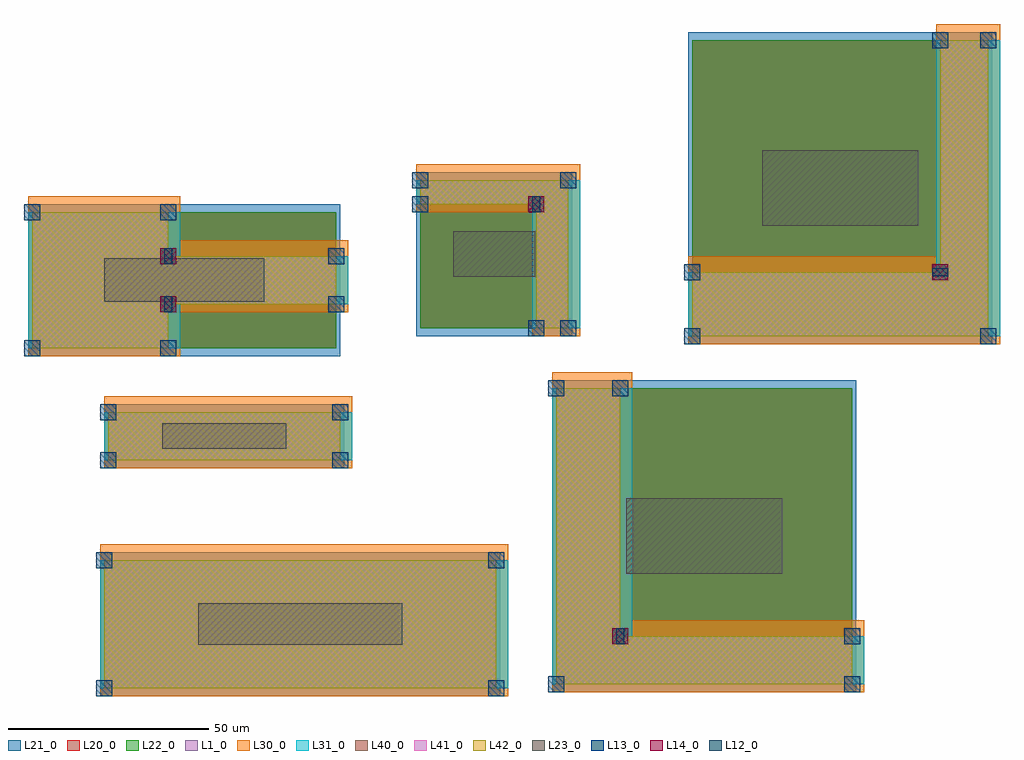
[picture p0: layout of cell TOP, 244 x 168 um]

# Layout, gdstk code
from math import pi, radians
import gdstk
lib = gdstk.Library(unit=1e-6, precision=1e-09)
def R(c, l, rs):  # rectangles x0, y0, x1, y1
    for r in rs: c.add(gdstk.rectangle(r[:2], r[2:], *l))
def P(c, l, *ps):  # polygons
    for p in ps: c.add(gdstk.Polygon(p, *l))
L1_0 = (1, 0)
L10_0 = (10, 0)
L11_0 = (11, 0)
L12_0 = (12, 0)
L13_0 = (13, 0)
L14_0 = (14, 0)
L20_0 = (20, 0)
L21_0 = (21, 0)
L22_0 = (22, 0)
L23_0 = (23, 0)
L24_0 = (24, 0)
L25_0 = (25, 0)
L26_0 = (26, 0)
L30_0 = (30, 0)
L31_0 = (31, 0)
L40_0 = (40, 0)
L41_0 = (41, 0)
L42_0 = (42, 0)

c_a = lib.new_cell('A')
R(c_a, L1_0, [(0,-12,58,0)])

c_b = lib.new_cell('B')
R(c_b, L1_0, [(12,-17,20,20), (-17,14,20,20)])
R(c_b, L20_0, [(-17,-17,20,20)])
c_b.add(gdstk.FlexPath([(20,-17),(20,-17)], 0, ends="flush", simple_path=True, layer=10, datatype=0))  # L10_0
c_b.add(gdstk.FlexPath([(12,-17),(12,-17)], 0, ends="flush", simple_path=True, layer=10, datatype=0))  # L10_0
c_b.add(gdstk.FlexPath([(12,14),(12,14)], 0, ends="flush", simple_path=True, layer=10, datatype=0))  # L10_0
c_b.add(gdstk.FlexPath([(-17,14),(-17,14)], 0, ends="flush", simple_path=True, layer=10, datatype=0))  # L10_0
c_b.add(gdstk.FlexPath([(-17,20),(-17,20)], 0, ends="flush", simple_path=True, layer=10, datatype=0))  # L10_0
c_b.add(gdstk.FlexPath([(20,20),(20,20)], 0, ends="flush", simple_path=True, layer=10, datatype=0))  # L10_0
c_b.add(gdstk.FlexPath([(12,14),(12,14)], 0, ends="flush", simple_path=True, layer=11, datatype=0))  # L11_0

b_var2 = lib.new_cell('B$VAR2')
R(b_var2, L21_0, [(-18,-17.5,21,20.5)])
R(b_var2, L22_0, [(-17,-17,20,20)])
R(b_var2, L23_0, [(-3.2,-8.25,6.2,11.25)])
P(b_var2, L30_0, [(10,-17.5),(10,13.5),(-19,13.5),(-19,21.5),(21,21.5),(21,-17.5)])
P(b_var2, L31_0, [(12,-17.5),(12,13.5),(-17,13.5),(-17,21.5),(20,21.5),(20,-17.5)])
R(b_var2, L40_0, [(12,-17,20,14), (-17,14,20,20)])
R(b_var2, L41_0, [(12,-17,20,14), (-17,14,20,20)])
R(b_var2, L42_0, [(12,-17,20,20), (-17,14,12,20)])
b_var2.add(gdstk.FlexPath([(-17,-17),(20,20)], 0, ends="flush", simple_path=True, layer=24, datatype=0))  # L24_0
b_var2.add(gdstk.FlexPath([(1.5,1.5),(1.5,1.5)], 0, ends="flush", simple_path=True, layer=25, datatype=0))  # L25_0
b_var2.add(gdstk.FlexPath([(5.2,-7.75),(-2.2,10.75)], 0, ends="flush", simple_path=True, layer=26, datatype=0))  # L26_0

c_c = lib.new_cell('C')
R(c_c, L12_0, [(1.5,13,2.5,15)])
R(c_c, L13_0, [(-7,7,-5,9), (30,7,32,9), (1,13,3,15), (30,13,32,15), (-7,44,-5,46), (1,44,3,46)])
R(c_c, L14_0, [(1,13,3,15)])
c_c.add(gdstk.Reference(c_b, (14,28), rotation=pi))
c_c.add(gdstk.Reference(b_var2, (14,28), rotation=pi))

b_1 = lib.new_cell('B$1')
R(b_1, L21_0, [(-18,-19,21,22)])
R(b_1, L22_0, [(-17,-17,20,20)])
R(b_1, L23_0, [(-8.75,-4.2,11.75,7.2)])
P(b_1, L30_0, [(11,-19),(11,12),(-18,12),(-18,24),(23,24),(23,-19)])
P(b_1, L31_0, [(11,-17),(11,14),(-18,14),(-18,20),(23,20),(23,-17)])
R(b_1, L40_0, [(12,-17,20,14), (-17,14,20,20)])
R(b_1, L41_0, [(12,-17,20,20), (-17,14,12,20)])
R(b_1, L42_0, [(12,-17,20,14), (-17,14,20,20)])
b_1.add(gdstk.FlexPath([(-17,-17),(20,20)], 0, ends="flush", simple_path=True, layer=24, datatype=0))  # L24_0
b_1.add(gdstk.FlexPath([(1.5,1.5),(1.5,1.5)], 0, ends="flush", simple_path=True, layer=25, datatype=0))  # L25_0
b_1.add(gdstk.FlexPath([(-7.75,-2.2),(10.75,5.2)], 0, ends="flush", simple_path=True, layer=26, datatype=0))  # L26_0

b_var1 = lib.new_cell('B$VAR1')
R(b_var1, L21_0, [(-17.5,-18,20.5,21)])
R(b_var1, L22_0, [(-17,-17,20,20)])
R(b_var1, L23_0, [(-8.25,-3.2,11.25,6.2)])
P(b_var1, L30_0, [(10.5,-19),(10.5,12),(-18.5,12),(-18.5,21),(20.5,21),(20.5,-19)])
P(b_var1, L31_0, [(10.5,-17),(10.5,14),(-18.5,14),(-18.5,20),(20.5,20),(20.5,-17)])
R(b_var1, L40_0, [(12,-17,20,14), (-17,14,20,20)])
R(b_var1, L41_0, [(12,-17,20,20), (-17,14,12,20)])
R(b_var1, L42_0, [(12,-17,20,14), (-17,14,20,20)])
b_var1.add(gdstk.FlexPath([(-17,-17),(20,20)], 0, ends="flush", simple_path=True, layer=24, datatype=0))  # L24_0
b_var1.add(gdstk.FlexPath([(1.5,1.5),(1.5,1.5)], 0, ends="flush", simple_path=True, layer=25, datatype=0))  # L25_0
b_var1.add(gdstk.FlexPath([(10.75,5.2),(-7.75,-2.2)], 0, ends="flush", simple_path=True, layer=26, datatype=0))  # L26_0

top = lib.new_cell('TOP')
R(top, L1_0, [(-11,-15,23,19)])
R(top, L12_0, [(135,-89,137,-85), (22,-6,24,-2), (22,6,24,10), (114,19,116,23)])
R(top, L13_0, [(5,-102,9,-98), (103,-102,107,-98), (118,-101,122,-97), (192,-101,196,-97), (134,-89,138,-85), (192,-89,196,-85), (5,-70,9,-66), (103,-70,107,-66), (6,-45,10,-41), (64,-45,68,-41), (6,-33,10,-29), (64,-33,68,-29), (118,-27,122,-23), (134,-27,138,-23), (-13,-17,-9,-13), (21,-17,25,-13), (113,-12,117,-8), (121,-12,125,-8), (21,-6,25,-2), (63,-6,67,-2), (21,6,25,10), (63,6,67,10), (-13,17,-9,21), (21,17,25,21), (84,19,88,23), (113,19,117,23), (84,25,88,29), (121,25,125,29)])
R(top, L14_0, [(134,-89,138,-85), (21,-6,25,-2), (21,6,25,10), (113,19,117,23)])
R(top, L20_0, [(7,-100,105,-68), (8,-43,66,-31), (-11,-15,65,19)])
R(top, L21_0, [(6,-102,106,-66), (7,-45,67,-29), (-12,-17,66,21)])
R(top, L22_0, [(7,-100,105,-68), (8,-43,66,-31), (-11,-15,65,19)])
R(top, L23_0, [(30.5,-89.2,81.5,-78.8), (21.5,-40.2,52.5,-33.8), (7,-3.4,47,7.4)])
R(top, L30_0, [(6,-102,108,-64), (7,-45,69,-27)])
P(top, L30_0, [(-12,-17),(-12,23),(26,23),(26,12),(68,12),(68,-6),(26,-6),(26,-17)])
R(top, L31_0, [(6,-100,108,-68), (7,-43,69,-31)])
P(top, L31_0, [(-12,-15),(-12,19),(26,19),(26,8),(68,8),(68,-4),(26,-4),(26,-15)])
R(top, L40_0, [(7,-100,105,-68), (8,-43,66,-31), (-11,-15,23,19), (23,-4,65,8)])
R(top, L41_0, [(7,-100,105,-68), (8,-43,66,-31), (-11,-15,23,19), (23,-4,65,8)])
R(top, L42_0, [(7,-100,105,-68), (8,-43,66,-31), (-11,-15,23,-4), (-11,-4,65,8), (-11,8,23,19)])
top.add(gdstk.FlexPath([(23,-15),(23,-15)], 0, ends="flush", simple_path=True, layer=10, datatype=0))  # L10_0
top.add(gdstk.FlexPath([(-11,-15),(-11,-15)], 0, ends="flush", simple_path=True, layer=10, datatype=0))  # L10_0
top.add(gdstk.FlexPath([(-11,19),(-11,19)], 0, ends="flush", simple_path=True, layer=10, datatype=0))  # L10_0
top.add(gdstk.FlexPath([(23,19),(23,19)], 0, ends="flush", simple_path=True, layer=10, datatype=0))  # L10_0
top.add(gdstk.FlexPath([(23,8),(23,8)], 0, ends="flush", simple_path=True, layer=10, datatype=0))  # L10_0
top.add(gdstk.FlexPath([(65,8),(65,8)], 0, ends="flush", simple_path=True, layer=10, datatype=0))  # L10_0
top.add(gdstk.FlexPath([(65,-4),(65,-4)], 0, ends="flush", simple_path=True, layer=10, datatype=0))  # L10_0
top.add(gdstk.FlexPath([(23,-4),(23,-4)], 0, ends="flush", simple_path=True, layer=10, datatype=0))  # L10_0
top.add(gdstk.FlexPath([(105,-100),(105,-100)], 0, ends="flush", simple_path=True, layer=10, datatype=0))  # L10_0
top.add(gdstk.FlexPath([(7,-100),(7,-100)], 0, ends="flush", simple_path=True, layer=10, datatype=0))  # L10_0
top.add(gdstk.FlexPath([(7,-68),(7,-68)], 0, ends="flush", simple_path=True, layer=10, datatype=0))  # L10_0
top.add(gdstk.FlexPath([(105,-68),(105,-68)], 0, ends="flush", simple_path=True, layer=10, datatype=0))  # L10_0
top.add(gdstk.FlexPath([(66,-43),(66,-43)], 0, ends="flush", simple_path=True, layer=10, datatype=0))  # L10_0
top.add(gdstk.FlexPath([(8,-43),(8,-43)], 0, ends="flush", simple_path=True, layer=10, datatype=0))  # L10_0
top.add(gdstk.FlexPath([(8,-31),(8,-31)], 0, ends="flush", simple_path=True, layer=10, datatype=0))  # L10_0
top.add(gdstk.FlexPath([(66,-31),(66,-31)], 0, ends="flush", simple_path=True, layer=10, datatype=0))  # L10_0
top.add(gdstk.FlexPath([(23,8),(23,8)], 0, ends="flush", simple_path=True, layer=11, datatype=0))  # L11_0
top.add(gdstk.FlexPath([(23,-4),(23,-4)], 0, ends="flush", simple_path=True, layer=11, datatype=0))  # L11_0
top.add(gdstk.FlexPath([(-11,-15),(65,19)], 0, ends="flush", simple_path=True, layer=24, datatype=0))  # L24_0
top.add(gdstk.FlexPath([(7,-100),(105,-68)], 0, ends="flush", simple_path=True, layer=24, datatype=0))  # L24_0
top.add(gdstk.FlexPath([(8,-43),(66,-31)], 0, ends="flush", simple_path=True, layer=24, datatype=0))  # L24_0
top.add(gdstk.FlexPath([(27,2),(27,2)], 0, ends="flush", simple_path=True, layer=25, datatype=0))  # L25_0
top.add(gdstk.FlexPath([(56,-84),(56,-84)], 0, ends="flush", simple_path=True, layer=25, datatype=0))  # L25_0
top.add(gdstk.FlexPath([(37,-37),(37,-37)], 0, ends="flush", simple_path=True, layer=25, datatype=0))  # L25_0
top.add(gdstk.FlexPath([(8,-1.4),(46,5.4)], 0, ends="flush", simple_path=True, layer=26, datatype=0))  # L26_0
top.add(gdstk.FlexPath([(31.5,-87.2),(80.5,-80.8)], 0, ends="flush", simple_path=True, layer=26, datatype=0))  # L26_0
top.add(gdstk.FlexPath([(22.5,-38.2),(51.5,-35.8)], 0, ends="flush", simple_path=True, layer=26, datatype=0))  # L26_0
top.add(gdstk.Reference(c_a, (7,8)))
top.add(gdstk.Reference(c_a, (8,-31)))
r = gdstk.Reference(c_a, (7,-88)); r.repetition = gdstk.Repetition(2, 5, v1=(40,0), v2=(0,5)); top.add(r)
top.add(gdstk.Reference(c_b, (103,7)))
top.add(gdstk.Reference(c_b, (160,-59), rotation=pi, magnification=2))
top.add(gdstk.Reference(c_c, (244,0), rotation=pi/2, magnification=2))
top.add(gdstk.Reference(b_1, (103,7)))
top.add(gdstk.Reference(b_var1, (160,-59), rotation=pi, magnification=2))

lib.write_gds('TOP.gds')
